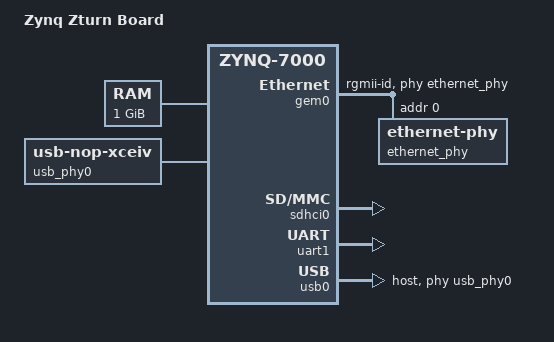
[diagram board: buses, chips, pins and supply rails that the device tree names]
/*
 * Myir Zturn board DTS
 *
 * Based on ZED DTS, which is
 *  Copyright (C) 2011 - 2015 Xilinx
 *  Copyright (C) 2012 National Instruments Corp.
 *
 * SPDX-License-Identifier:    GPL-2.0+
 */

/dts-v1/;
#include "zynq-7000.dtsi"
#include <dt-bindings/gpio/gpio.h>

/ {
	model = "Zynq Zturn Board";
	compatible = "xlnx,zynq-zturn", "xlnx,zynq-7000";

	aliases {
		serial0 = &uart1;
		ethernet0 = &gem0;
		mmc0 = &sdhci0;
	};

	board {
		phys-reset-gpio = <&gpio0 51 GPIO_ACTIVE_LOW>;
	};

	memory {
		device_type = "memory";
		reg = <0 0x40000000>;
	};

	chosen {
		bootargs = "";
		stdout-path = "serial0:115200n8";
	};

	usb_phy0: phy0 {
		compatible = "usb-nop-xceiv";
		#phy-cells = <0>;
	};
};

&clkc {
	ps-clk-frequency = <33333333>;
};

&gem0 {
	status = "okay";
	phy-mode = "rgmii-id";
	phy-handle = <&ethernet_phy>;

	ethernet_phy: ethernet-phy@0 {
		reg = <0>;
	};
};


&sdhci0 {
	u-boot,dm-pre-reloc;
	status = "okay";
};

&uart1 {
	u-boot,dm-pre-reloc;
	status = "okay";
};

&usb0 {
	status = "okay";
	dr_mode = "host";
	usb-phy = <&usb_phy0>;
};
